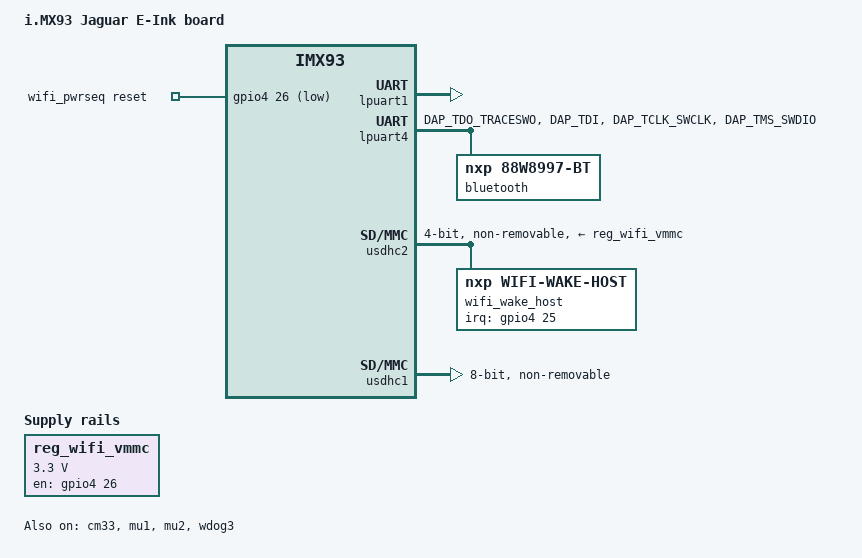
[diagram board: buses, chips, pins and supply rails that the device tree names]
// SPDX-License-Identifier: (GPL-2.0+ OR MIT)
/*
 * Copyright 2022 NXP
 * Copyright 2024 Dynamic Devices Ltd
 * 
 * Device tree for Dynamic Devices i.MX93 Jaguar E-Ink board
 * Features:
 * - ublox MAYA W2 module (IW612 chipset) for WiFi/BT/802.15.4
 * - LTE modem support
 * - Power management via MCXC143VFM microcontroller
 */

/dts-v1/;

#include <dt-bindings/usb/pd.h>
#include <dt-bindings/input/input.h>
#include <dt-bindings/gpio/gpio.h>
#include <dt-bindings/interrupt-controller/irq.h>
#include "freescale/imx93.dtsi"

&ele_fw2 {
	memory-region = <&ele_reserved>;
};

/ {
	model = "i.MX93 Jaguar E-Ink board";
	compatible = "fsl,imx93-11x11-evk", "fsl,imx93";

	chosen {
		stdout-path = &lpuart1;
	};

	reserved-memory {
		#address-cells = <2>;
		#size-cells = <2>;
		ranges;

		linux,cma {
			compatible = "shared-dma-pool";
			reusable;
			alloc-ranges = <0 0x80000000 0 0x40000000>;
			size = <0 0x10000000>;
			linux,cma-default;
		};

		ethosu_mem: ethosu_region@C0000000 {
			compatible = "shared-dma-pool";
			reusable;
			reg = <0x0 0xC0000000 0x0 0x10000000>;
		};

		ele_reserved: ele-reserved@A4120000 {
			compatible = "shared-dma-pool";
			reg = <0x0 0xA4120000 0x0 0x100000>;
			no-map;
		};

		m33_reserved: m33@a4000000 {
			no-map;
			reg = <0 0xa4000000 0 0x1000000>;
		};

		vdev0vring0: vdev0vring0@a4000000 {
			reg = <0 0xa4000000 0 0x8000>;
			no-map;
		};

		vdev0vring1: vdev0vring1@a4008000 {
			reg = <0 0xa4008000 0 0x8000>;
			no-map;
		};

		vdev1vring0: vdev1vring0@a4010000 {
			reg = <0 0xa4010000 0 0x8000>;
			no-map;
		};

		vdev1vring1: vdev1vring1@a4018000 {
			reg = <0 0xa4018000 0 0x8000>;
			no-map;
		};

		rsc_table: rsc-table@a4020000 {
			reg = <0 0xa4020000 0 0x1000>;
			no-map;
		};

		vdevbuffer: vdevbuffer@a4021000 {
			compatible = "shared-dma-pool";
			reg = <0 0xa4021000 0 0x100000>;
			no-map;
		};
	};

	/* WiFi SDIO power sequence */
	wifi_pwrseq: wifi-pwrseq {
		compatible = "mmc-pwrseq-simple";
		pinctrl-names = "default";
		reset-gpios = <&gpio4 26 GPIO_ACTIVE_LOW>; /* WLAN_RST */
		post-power-on-delay-ms = <200>;
	};

	/* Regulators */
	reg_wifi_vmmc: regulator-wifi-vmmc {
		compatible = "regulator-fixed";
		regulator-name = "VSD_3V3";
		regulator-min-microvolt = <3300000>;
		regulator-max-microvolt = <3300000>;
		gpio = <&gpio4 26 GPIO_ACTIVE_HIGH>;
		enable-active-high;
		startup-delay-us = <100>;
	};

	/* GPIO keys - temporarily disabled to debug shutdown issue */
	/* gpio-keys {
		compatible = "gpio-keys";
		autorepeat;

		power {
			label = "Power Button";
			gpios = <&gpio3 11 GPIO_ACTIVE_LOW>;
			linux,code = <KEY_POWER>;
			wakeup-source;
			debounce-interval = <10>;
		};
	}; */
};

&cm33 {
	mbox-names = "tx", "rx", "rxdb";
	mboxes = <&mu1 0 1>,
		 <&mu1 1 1>,
		 <&mu1 3 1>;
	memory-region = <&vdevbuffer>, <&vdev0vring0>, <&vdev0vring1>,
			<&vdev1vring0>, <&vdev1vring1>, <&rsc_table>;
	fsl,startup-delay-ms = <500>;
	status = "okay";
};

&mu1 {
	status = "okay";
};

&mu2 {
	status = "okay";
};

/* Console UART */
&lpuart1 {
	status = "okay";
};

/* Pin configuration for LPUART5 Bluetooth */
&iomuxc {
	pinctrl_lpuart5: lpuart5grp {
		fsl,pins = <
			MX93_PAD_DAP_TDO_TRACESWO__LPUART5_TX	0x31e  /* BT UART RX - Output from iMX93 */
			MX93_PAD_DAP_TDI__LPUART5_RX		0x31e  /* BT UART TX - Input to iMX93 */
			MX93_PAD_DAP_TCLK_SWCLK__LPUART5_CTS_B	0x31e  /* BT UART CTS - Output from iMX93 */
			MX93_PAD_DAP_TMS_SWDIO__LPUART5_RTS_B	0x31e  /* BT UART RTS - Input to iMX93 */
		>;
	};

	pinctrl_bluetooth_gpio: bluetooth_gpio_grp {
		fsl,pins = <
			MX93_PAD_ENET2_RD0__GPIO4_IO24		0x31e  /* BT_RST - Active Low, controlled by MCXC143VFM */
		>;
	};
};

/* Bluetooth UART - ublox MAYA W2 - LPUART5 is at 42590000 on iMX93 */
&lpuart4 {
	pinctrl-names = "default";
	pinctrl-0 = <&pinctrl_lpuart5>;  /* Still using LPUART5 pin config (DAP pins) */
	fsl,uart-has-rtscts;  /* Enable RTS/CTS hardware flow control */
	status = "okay";

	bluetooth {
		compatible = "nxp,88w8997-bt";
		fw-init-baudrate = <3000000>;
	};
};

/* WiFi SDIO Interface - ublox MAYA W2 (IW612) */
&usdhc2 {
	vmmc-supply = <&reg_wifi_vmmc>;
	mmc-pwrseq = <&wifi_pwrseq>;
	bus-width = <4>;
	keep-power-in-suspend;
	non-removable;
	wakeup-source;
	max-frequency = <100000000>;
	fsl,sdio-async-interrupt-enabled;
	pm-ignore-notify;
	cap-power-off-card;
	status = "okay";

	wifi_wake_host {
		compatible = "nxp,wifi-wake-host";
		interrupt-parent = <&gpio4>;
		interrupts = <25 IRQ_TYPE_LEVEL_LOW>;  /* ENET2_RD1 - SD2_INT */
		interrupt-names = "host-wake";
		wakeup-source;
	};
};

/* eMMC storage */
&usdhc1 {
	bus-width = <8>;
	non-removable;
	keep-power-in-suspend;
	status = "okay";
};

/* SPI Interface disabled - no longer needed */
&lpspi3 {
	status = "disabled";
};

&wdog3 {
	status = "okay";
	timeout-sec = <40>;
};
